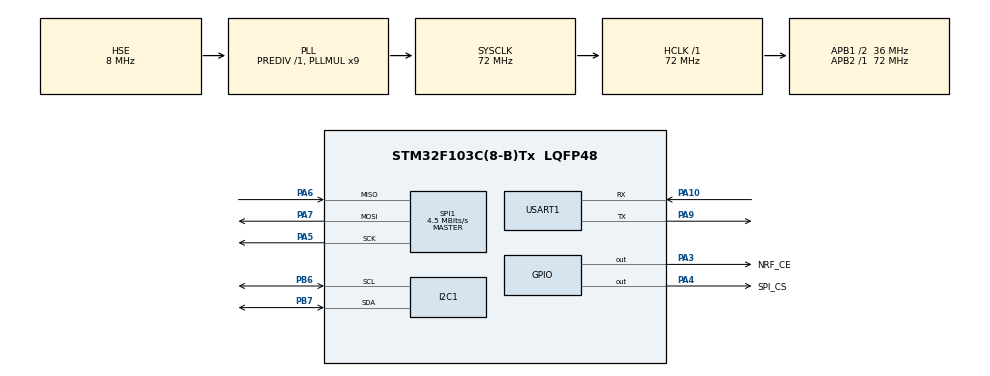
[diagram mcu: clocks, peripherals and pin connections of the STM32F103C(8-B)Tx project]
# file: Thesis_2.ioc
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Mcu.Family=STM32F1
Mcu.Name=STM32F103C(8-B)Tx
Mcu.Package=LQFP48
NVIC.PriorityGroup=NVIC_PRIORITYGROUP_4
PA10.Mode=Asynchronous
PA10.Signal=USART1_RX
PA13.Mode=Serial_Wire
PA13.Signal=SYS_JTMS-SWDIO
PA14.Mode=Serial_Wire
PA14.Signal=SYS_JTCK-SWCLK
PA3.GPIO_Label=NRF_CE
PA3.Signal=GPIO_Output
PA4.GPIO_Label=SPI_CS
PA4.Signal=GPIO_Output
PA5.Mode=Full_Duplex_Master
PA5.Signal=SPI1_SCK
PA6.Mode=Full_Duplex_Master
PA6.Signal=SPI1_MISO
PA7.Mode=Full_Duplex_Master
PA7.Signal=SPI1_MOSI
PA9.Mode=Asynchronous
PA9.Signal=USART1_TX
PB6.Mode=I2C
PB6.Signal=I2C1_SCL
PB7.Mode=I2C
PB7.Signal=I2C1_SDA
PD0-OSC_IN.Mode=HSE-External-Oscillator
PD0-OSC_IN.Signal=RCC_OSC_IN
PD1-OSC_OUT.Mode=HSE-External-Oscillator
PD1-OSC_OUT.Signal=RCC_OSC_OUT
ProjectManager.HeapSize=0x200
ProjectManager.StackSize=0x400
ProjectManager.TargetToolchain=MDK-ARM V5.32
RCC.AHBFreq_Value=72000000
RCC.APB1CLKDivider=RCC_HCLK_DIV2
RCC.APB1Freq_Value=36000000
RCC.APB1TimFreq_Value=72000000
RCC.APB2Freq_Value=72000000
RCC.APB2TimFreq_Value=72000000
RCC.HCLKFreq_Value=72000000
RCC.PLLMUL=RCC_PLL_MUL9
RCC.PLLSourceVirtual=RCC_PLLSOURCE_HSE
RCC.SYSCLKFreq_VALUE=72000000
RCC.SYSCLKSource=RCC_SYSCLKSOURCE_PLLCLK
RCC.USBFreq_Value=72000000
SPI1.BaudRatePrescaler=SPI_BAUDRATEPRESCALER_16
SPI1.CalculateBaudRate=4.5 MBits/s
SPI1.Direction=SPI_DIRECTION_2LINES
SPI1.Mode=SPI_MODE_MASTER
SPI1.VirtualType=VM_MASTER
USART1.VirtualMode=VM_ASYNC
board=custom

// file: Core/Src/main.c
/* USER CODE BEGIN Header */
/**
  ******************************************************************************
  * @file           : main.c
  * @brief          : Main program body
  ******************************************************************************
  * @attention
  *
  * Copyright (c) 2024 STMicroelectronics.
  * All rights reserved.
  *
  * This software is licensed under terms that can be found in the LICENSE file
  * in the root directory of this software component.
  * If no LICENSE file comes with this software, it is provided AS-IS.
  *
  ******************************************************************************
  */
/* USER CODE END Header */
#include "main.h"

/* USER CODE BEGIN Includes */
#include "MY_NRF24.h"
#include "Anglas_INA226.h"
/* USER CODE END Includes */

I2C_HandleTypeDef hi2c1;

SPI_HandleTypeDef hspi1;

UART_HandleTypeDef huart1;

/* USER CODE BEGIN PV */
uint64_t TxpipeAddrs = 0x11223344AA;
uint64_t RxpipeAddrs = 0x11223344AA;
uint16_t myTxData[32];
uint16_t myRxData[50];
float Current_REF;
float Current_SEN;
float Current_Dif;
/* USER CODE END PV */

void SystemClock_Config(void);
static void MX_GPIO_Init(void);
static void MX_I2C1_Init(void);
static void MX_SPI1_Init(void);
static void MX_USART1_UART_Init(void);

/* USER CODE BEGIN 0 */
uint8_t checksum (uint16_t *data)
{
	uint16_t check_sum = 0;
	check_sum += data[0] + data[1];
	for (uint8_t i = 0; i< data[1]; i++)
	{
		 check_sum += data[2+i];
	}
	return check_sum;
}

bool process_data (uint16_t *data)
{
	uint8_t len = 2+ data[1];
	if (checksum(data) == data[len])
	{
		return 1;
	}
	else
	{
		return 0;
	}
}
void command(uint16_t *data)
{

			//max_temp = data[2];
		//HAL_GPIO_TogglePin(GPIOC, GPIO_PIN_13);
}
/* USER CODE END 0 */

int main(void)
{

  /* MCU Configuration--------------------------------------------------------*/

  /* Reset of all peripherals, Initializes the Flash interface and the Systick. */
  HAL_Init();

  /* Configure the system clock */
  SystemClock_Config();

  /* Initialize all configured peripherals */
  MX_GPIO_Init();
  MX_I2C1_Init();
  MX_SPI1_Init();
  MX_USART1_UART_Init();
  /* USER CODE BEGIN 2 */

  NRF24_begin(GPIOA, GPIO_PIN_4, GPIO_PIN_3, hspi1);
	nrf24_DebugUART_Init(huart1);
	printRadioSettings();

	//**** TRANSMIT - ACK ****//
	NRF24_setChannel(52);
	NRF24_setPayloadSize(32);

  NRF24_setAutoAck(true);
	NRF24_openReadingPipe(0, RxpipeAddrs);

	//****Current Sensor Init****/

	INA226_Init(&hi2c1,INA226_I2C_ADDRESS_REF);
	INA226_Init(&hi2c1,INA226_I2C_ADDRESS_SEN);
  /* USER CODE END 2 */

  /* Infinite loop */
  while (1)
  {

    /* USER CODE BEGIN 3 */
		NRF24_startListening();
		HAL_Delay(10);
		if(NRF24_available())
		{
			NRF24_read(myRxData, 32);
			process_data(myRxData);
			//Process command function
			command(myRxData);
		}

		Current_REF = INA226_ReadCurrent(&hi2c1,INA226_I2C_ADDRESS_REF);
		Current_SEN = INA226_ReadCurrent(&hi2c1,INA226_I2C_ADDRESS_SEN);
		Current_Dif = Current_REF - Current_SEN;
		NRF24_stopListening();
	  NRF24_openWritingPipe(TxpipeAddrs );
		myTxData[0] = 0x01;
	  myTxData[1] = 0x02;
		myTxData[2] = Current_Dif;
		myTxData[4] = checksum(myTxData);
		NRF24_write(myTxData, 32);
  }
  /* USER CODE END 3 */
}

void SystemClock_Config(void)
{
  RCC_OscInitTypeDef RCC_OscInitStruct = {0};
  RCC_ClkInitTypeDef RCC_ClkInitStruct = {0};

  /** Initializes the RCC Oscillators according to the specified parameters
  * in the RCC_OscInitTypeDef structure.
  */
  RCC_OscInitStruct.OscillatorType = RCC_OSCILLATORTYPE_HSE;
  RCC_OscInitStruct.HSEState = RCC_HSE_ON;
  RCC_OscInitStruct.HSEPredivValue = RCC_HSE_PREDIV_DIV1;
  RCC_OscInitStruct.HSIState = RCC_HSI_ON;
  RCC_OscInitStruct.PLL.PLLState = RCC_PLL_ON;
  RCC_OscInitStruct.PLL.PLLSource = RCC_PLLSOURCE_HSE;
  RCC_OscInitStruct.PLL.PLLMUL = RCC_PLL_MUL9;
  if (HAL_RCC_OscConfig(&RCC_OscInitStruct) != HAL_OK)
  {
    Error_Handler();
  }

  /** Initializes the CPU, AHB and APB buses clocks
  */
  RCC_ClkInitStruct.ClockType = RCC_CLOCKTYPE_HCLK|RCC_CLOCKTYPE_SYSCLK
                              |RCC_CLOCKTYPE_PCLK1|RCC_CLOCKTYPE_PCLK2;
  RCC_ClkInitStruct.SYSCLKSource = RCC_SYSCLKSOURCE_PLLCLK;
  RCC_ClkInitStruct.AHBCLKDivider = RCC_SYSCLK_DIV1;
  RCC_ClkInitStruct.APB1CLKDivider = RCC_HCLK_DIV2;
  RCC_ClkInitStruct.APB2CLKDivider = RCC_HCLK_DIV1;

  if (HAL_RCC_ClockConfig(&RCC_ClkInitStruct, FLASH_LATENCY_2) != HAL_OK)
  {
    Error_Handler();
  }
}

static void MX_I2C1_Init(void)
{

  hi2c1.Instance = I2C1;
  hi2c1.Init.ClockSpeed = 100000;
  hi2c1.Init.DutyCycle = I2C_DUTYCYCLE_2;
  hi2c1.Init.OwnAddress1 = 0;
  hi2c1.Init.AddressingMode = I2C_ADDRESSINGMODE_7BIT;
  hi2c1.Init.DualAddressMode = I2C_DUALADDRESS_DISABLE;
  hi2c1.Init.OwnAddress2 = 0;
  hi2c1.Init.GeneralCallMode = I2C_GENERALCALL_DISABLE;
  hi2c1.Init.NoStretchMode = I2C_NOSTRETCH_DISABLE;
  if (HAL_I2C_Init(&hi2c1) != HAL_OK)
  {
    Error_Handler();
  }

}

static void MX_SPI1_Init(void)
{

  /* SPI1 parameter configuration*/
  hspi1.Instance = SPI1;
  hspi1.Init.Mode = SPI_MODE_MASTER;
  hspi1.Init.Direction = SPI_DIRECTION_2LINES;
  hspi1.Init.DataSize = SPI_DATASIZE_8BIT;
  hspi1.Init.CLKPolarity = SPI_POLARITY_LOW;
  hspi1.Init.CLKPhase = SPI_PHASE_1EDGE;
  hspi1.Init.NSS = SPI_NSS_SOFT;
  hspi1.Init.BaudRatePrescaler = SPI_BAUDRATEPRESCALER_16;
  hspi1.Init.FirstBit = SPI_FIRSTBIT_MSB;
  hspi1.Init.TIMode = SPI_TIMODE_DISABLE;
  hspi1.Init.CRCCalculation = SPI_CRCCALCULATION_DISABLE;
  hspi1.Init.CRCPolynomial = 10;
  if (HAL_SPI_Init(&hspi1) != HAL_OK)
  {
    Error_Handler();
  }

}

static void MX_USART1_UART_Init(void)
{

  huart1.Instance = USART1;
  huart1.Init.BaudRate = 115200;
  huart1.Init.WordLength = UART_WORDLENGTH_8B;
  huart1.Init.StopBits = UART_STOPBITS_1;
  huart1.Init.Parity = UART_PARITY_NONE;
  huart1.Init.Mode = UART_MODE_TX_RX;
  huart1.Init.HwFlowCtl = UART_HWCONTROL_NONE;
  huart1.Init.OverSampling = UART_OVERSAMPLING_16;
  if (HAL_UART_Init(&huart1) != HAL_OK)
  {
    Error_Handler();
  }

}

static void MX_GPIO_Init(void)
{
  GPIO_InitTypeDef GPIO_InitStruct = {0};

  /* GPIO Ports Clock Enable */
  __HAL_RCC_GPIOD_CLK_ENABLE();
  __HAL_RCC_GPIOA_CLK_ENABLE();
  __HAL_RCC_GPIOB_CLK_ENABLE();

  /*Configure GPIO pin Output Level */
  HAL_GPIO_WritePin(GPIOA, NRF_CE_Pin|SPI_CS_Pin, GPIO_PIN_RESET);

  /*Configure GPIO pins : NRF_CE_Pin SPI_CS_Pin */
  GPIO_InitStruct.Pin = NRF_CE_Pin|SPI_CS_Pin;
  GPIO_InitStruct.Mode = GPIO_MODE_OUTPUT_PP;
  GPIO_InitStruct.Pull = GPIO_NOPULL;
  GPIO_InitStruct.Speed = GPIO_SPEED_FREQ_LOW;
  HAL_GPIO_Init(GPIOA, &GPIO_InitStruct);

}

void Error_Handler(void)
{
  __disable_irq();
  while (1)
  {
  }
}
